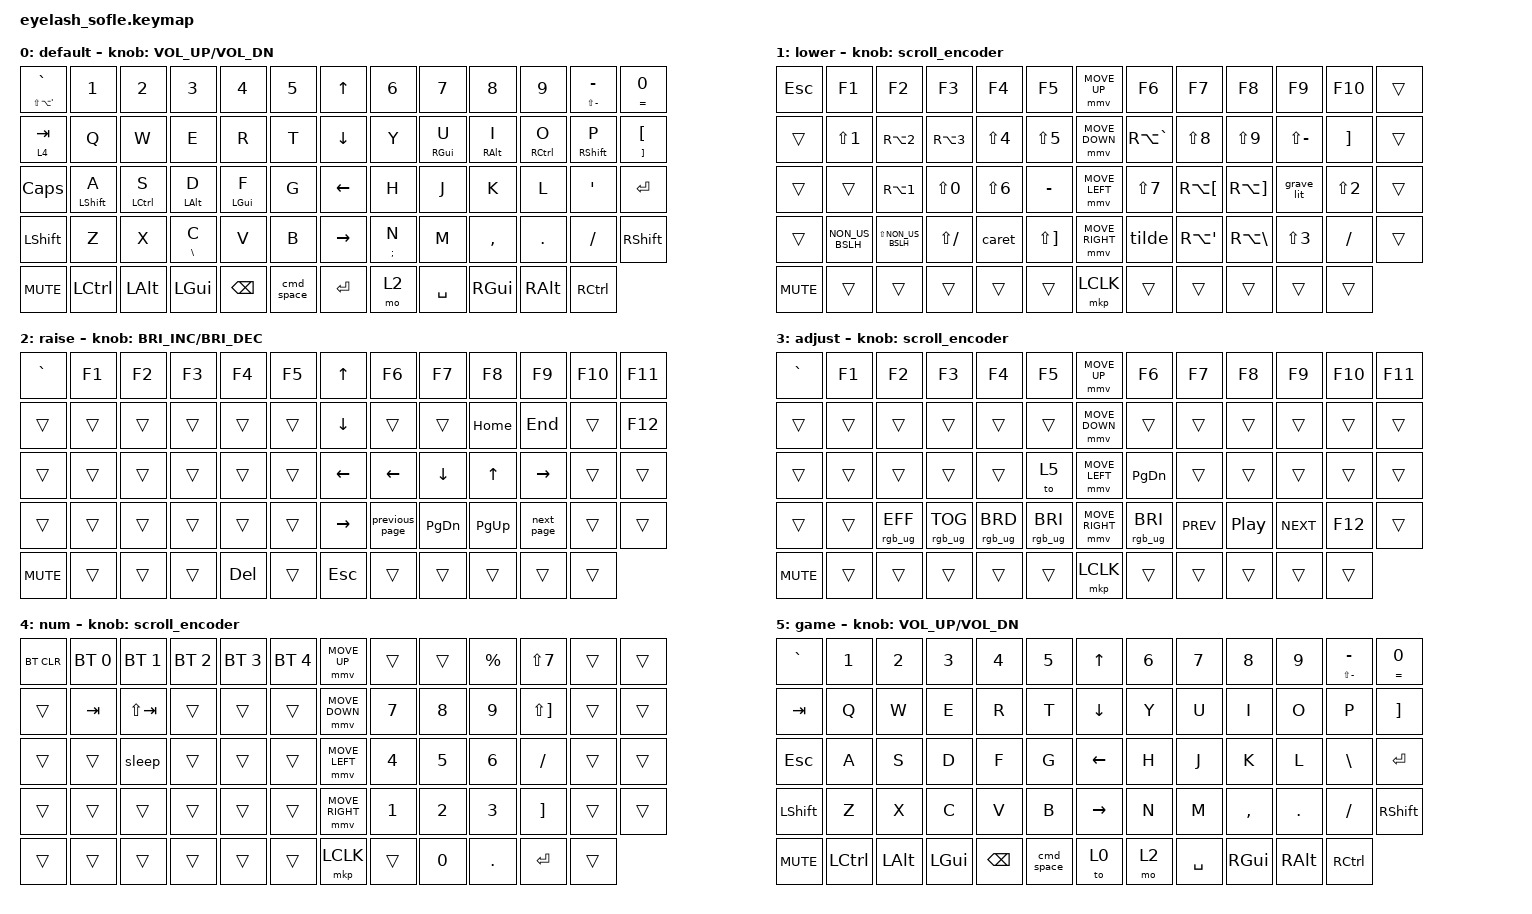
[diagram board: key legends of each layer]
#define ZMK_POINTING_DEFAULT_MOVE_VAL 1200  // 600
#define ZMK_POINTING_DEFAULT_SCRL_VAL 20    // 10

#include <input/processors.dtsi>
#include <zephyr/dt-bindings/input/input-event-codes.h>

#include <behaviors/mouse_keys.dtsi>
#include <behaviors.dtsi>
#include <dt-bindings/zmk/bt.h>
#include <dt-bindings/zmk/keys.h>
#include <dt-bindings/zmk/outputs.h>
#include <dt-bindings/zmk/pointing.h>
#include <dt-bindings/zmk/rgb.h>

&mmv_input_listener { input-processors = <&zip_xy_scaler 2 1>; };
&msc_input_listener { input-processors = <&zip_scroll_scaler 2 1>; };

&msc {
    acceleration-exponent = <1>;
    time-to-max-speed-ms = <400>;
    delay-ms = <0>;
};

&mmv {
    time-to-max-speed-ms = <900>;
    acceleration-exponent = <1>;
    trigger-period-ms = <16>;
};

&soft_off { hold-time-ms = <2000>; };

/ {
    scroll_encoder: scroll_encoder {
        compatible = "zmk,behavior-sensor-rotate";
        #sensor-binding-cells = <0>;
        bindings = <&msc SCRL_DOWN>, <&msc SCRL_UP>;

        tap-ms = <30>;
    };

    behaviors {
        num_tab: num_tab {
            compatible = "zmk,behavior-hold-tap";
            bindings = <&mo>, <&kp>;

            #binding-cells = <2>;
            tapping-term-ms = <200>;
            quick-tap-ms = <100>;
            require-prior-idle-ms = <100>;
        };

        service_mode: service_mode {
            compatible = "zmk,behavior-hold-tap";
            bindings = <&kp>, <&kp>;

            #binding-cells = <2>;
            tapping-term-ms = <150>;
            hold-trigger-key-positions = <0>;
        };

        c_trencada: c_trencada {
            compatible = "zmk,behavior-hold-tap";
            bindings = <&kp>, <&kp>;

            #binding-cells = <2>;
            tapping-term-ms = <200>;
            quick-tap-ms = <50>;
            flavor = "tap-preferred";
            hold-trigger-key-positions = <42>;
        };

        enya: enya {
            compatible = "zmk,behavior-hold-tap";
            bindings = <&kp>, <&kp>;

            #binding-cells = <2>;
            tapping-term-ms = <200>;
            quick-tap-ms = <50>;
            flavor = "tap-preferred";
            hold-trigger-key-positions = <46>;
        };

        generic_tap_hold: generic_tap_hold {
            compatible = "zmk,behavior-hold-tap";
            bindings = <&kp>, <&kp>;

            #binding-cells = <2>;
            tapping-term-ms = <150>;
            quick-tap-ms = <50>;
            require-prior-idle-ms = <125>;
            flavor = "tap-preferred";
            hold-trigger-key-positions = <12 11 37>;
        };

        cmd_space: cmd_space {
            compatible = "zmk,behavior-tap-dance";
            #binding-cells = <0>;
            bindings = <&mo 1>, <&kp LG(SPACE)>;

            tapping-term-ms = <200>;
        };

        lhmod: lhmod {
            compatible = "zmk,behavior-hold-tap";
            bindings = <&kp>, <&kp>;

            #binding-cells = <2>;
            tapping-term-ms = <200>;
            flavor = "tap-preferred";
            quick-tap-ms = <50>;
        };

        rhmod: rhmod {
            compatible = "zmk,behavior-hold-tap";
            bindings = <&kp>, <&kp>;

            #binding-cells = <2>;
            tapping-term-ms = <200>;
            flavor = "tap-preferred";
            quick-tap-ms = <50>;
        };
    };

    macros {
        sleep: sleep {
            compatible = "zmk,behavior-macro";
            #binding-cells = <0>;
            bindings = <&kp LA(LC(LG(EQUAL)))>;
        };

        next_page: next_page {
            compatible = "zmk,behavior-macro";
            #binding-cells = <0>;
            bindings = <&kp LG(SINGLE_QUOTE)>;
        };

        previous_page: previous_page {
            compatible = "zmk,behavior-macro";
            #binding-cells = <0>;
            bindings = <&kp LG(SEMICOLON)>;
        };

        // Literal ^ ~ ` for SYM: the dead key, then SPACE
        caret: caret {
            compatible = "zmk,behavior-macro";
            #binding-cells = <0>;
            bindings = <&kp LS(LBKT) &kp SPACE>;
        };

        tilde: tilde {
            compatible = "zmk,behavior-macro";
            #binding-cells = <0>;
            bindings = <&kp RA(SEMI) &kp SPACE>;
        };

        grave_lit: grave_lit {
            compatible = "zmk,behavior-macro";
            #binding-cells = <0>;
            bindings = <&kp LBKT &kp SPACE>;
        };
    };

    combos {
        compatible = "zmk,combos";

        softoff {
            bindings = <&soft_off>;
            key-positions = <14 28 40>;
            // ADJUST only (SYM + RAISE held): on base, the combo held back every S (a home-row mod) press
            layers = <3>;
        };
    };

    keymap {
        compatible = "zmk,keymap";

        default_layer {
            bindings = <
&service_mode LS(LA(APOSTROPHE)) GRAVE  &kp N1               &kp N2          &kp N3                   &kp N4             &kp N5                &kp UP_ARROW     &kp N6             &kp N7              &kp N8              &kp N9          &generic_tap_hold LS(MINUS) MINUS            &generic_tap_hold EQUAL N0
&num_tab 4 TAB                          &kp Q                &kp W           &kp E                    &kp R              &kp T                 &kp DOWN_ARROW   &kp Y              &rhmod RIGHT_GUI U  &rhmod RIGHT_ALT I  &rhmod RCTRL O  &rhmod RIGHT_SHIFT P                         &generic_tap_hold RBKT LBKT
&kp CAPS                                &lhmod LEFT_SHIFT A  &lhmod LCTRL S  &lhmod LEFT_ALT D        &lhmod LEFT_GUI F  &kp G                 &kp LEFT_ARROW   &kp H              &kp J               &kp K               &kp L           &kp SINGLE_QUOTE                             &kp ENTER
&kp LSHFT                               &kp Z                &kp X           &c_trencada BACKSLASH C  &kp V              &kp B                 &kp RIGHT_ARROW  &enya SEMICOLON N  &kp M               &kp COMMA           &kp DOT         &kp FSLH                                     &kp RSHFT
&kp C_MUTE                              &kp LCTRL            &kp LALT        &kp LEFT_GUI             &kp BSPC           &cmd_space            &kp ENTER        &mo 2              &kp SPACE           &kp RGUI            &kp RALT        &kp RCTRL
            >;

            sensor-bindings = <&inc_dec_kp C_VOLUME_UP C_VOL_DN>;
            display-name = "default";
        };

        lower_layer {
            bindings = <
&kp ESCAPE  &kp F1  &kp F2  &kp F3  &kp F4  &kp F5    &mmv MOVE_UP     &kp F6             &kp F7                &kp F8                 &kp F9                &kp F10              &trans
&trans      &kp LS(N1)           &kp RA(N2)           &kp RA(N3)           &kp LS(N4)           &kp LS(N5)           &mmv MOVE_DOWN   &kp RA(GRAVE)  &kp LS(N8)     &kp LS(N9)     &kp LS(MINUS)  &kp RBKT       &trans
&trans      &trans               &kp RA(N1)           &kp LS(N0)           &kp LS(N6)           &kp MINUS            &mmv MOVE_LEFT   &kp LS(N7)     &kp RA(LBKT)   &kp RA(RBKT)   &grave_lit     &kp LS(N2)     &trans
&trans      &kp NON_US_BSLH      &kp LS(NON_US_BSLH)  &kp LS(FSLH)         &caret               &kp LS(RBKT)         &mmv MOVE_RIGHT  &tilde         &kp RA(SQT)    &kp RA(BSLH)   &kp LS(N3)     &kp FSLH       &trans
&kp C_MUTE  &trans  &trans  &trans  &trans  &trans    &mkp LCLK        &trans             &trans                &trans                 &trans                &trans
            >;

            display-name = "lower";
            sensor-bindings = <&scroll_encoder>;
        };

        raise_layer {
            display-name = "raise";
            bindings = <
&kp GRAVE   &kp F1  &kp F2  &kp F3  &kp F4      &kp F5    &kp UP_ARROW  &kp F6          &kp F7          &kp F8        &kp F9      &kp F10  &kp F11
&trans      &trans  &trans  &trans  &trans      &trans    &kp DOWN_ARROW  &trans        &trans          &kp HOME      &kp END     &trans   &kp F12
&trans      &trans  &trans  &trans  &trans      &trans    &kp LEFT_ARROW  &kp LEFT_ARROW  &kp DOWN_ARROW  &kp UP_ARROW  &kp RIGHT_ARROW   &trans   &trans
&trans      &trans  &trans  &trans  &trans      &trans    &kp RIGHT_ARROW     &previous_page  &kp PG_DN   &kp PG_UP   &next_page  &trans   &trans
&kp C_MUTE  &trans  &trans  &trans  &kp DELETE  &trans    &kp ESC       &trans          &trans          &trans        &trans      &trans
            >;

            sensor-bindings = <&inc_dec_kp C_BRI_INC C_BRI_DEC>;
        };

        adjust_layer {
            display-name = "adjust";
            bindings = <
&kp GRAVE   &kp F1  &kp F2           &kp F3           &kp F4           &kp F5             &mmv MOVE_UP     &kp F6           &kp F7      &kp F8    &kp F9      &kp F10  &kp F11
&trans      &trans  &trans           &trans           &trans           &trans             &mmv MOVE_DOWN   &trans           &trans      &trans    &trans      &trans   &trans
&trans      &trans  &trans           &trans           &trans           &to 5              &mmv MOVE_LEFT   &kp PG_DN        &trans      &trans    &trans      &trans   &trans
&trans      &trans  &rgb_ug RGB_EFF  &rgb_ug RGB_TOG  &rgb_ug RGB_BRD  &rgb_ug RGB_BRI    &mmv MOVE_RIGHT  &rgb_ug RGB_BRI  &kp C_PREV  &kp C_PP  &kp C_NEXT  &kp F12  &trans
&kp C_MUTE  &trans  &trans           &trans           &trans           &trans             &mkp LCLK        &trans           &trans      &trans    &trans      &trans
            >;

            sensor-bindings = <&scroll_encoder>;
        };

        numeric_layer {
            display-name = "num";
            bindings = <
&bt BT_CLR  &bt BT_SEL 0  &bt BT_SEL 1  &bt BT_SEL 2  &bt BT_SEL 3  &bt BT_SEL 4    &mmv MOVE_UP     &trans  &trans  &kp PERCENT  &kp LS(N7)             &trans  &trans
&trans      &kp TAB       &kp LS(TAB)   &trans        &trans        &trans          &mmv MOVE_DOWN   &kp N7  &kp N8  &kp N9       &kp LS(RIGHT_BRACKET)  &trans  &trans
&trans      &trans        &sleep        &trans        &trans        &trans          &mmv MOVE_LEFT   &kp N4  &kp N5  &kp N6       &kp SLASH              &trans  &trans
&trans      &trans        &trans        &trans        &trans        &trans          &mmv MOVE_RIGHT  &kp N1  &kp N2  &kp N3       &kp RIGHT_BRACKET      &trans  &trans
&trans      &trans        &trans        &trans        &trans        &trans          &mkp LCLK        &trans  &kp N0  &kp DOT      &kp ENTER             &trans
            >;

            sensor-bindings = <&scroll_encoder>;
        };

        game_layer {
            display-name = "game";
            bindings = <
&kp GRAVE   &kp N1     &kp N2    &kp N3                   &kp N4    &kp N5        &kp UP_ARROW     &kp N6             &kp N7     &kp N8     &kp N9    &generic_tap_hold LS(MINUS) MINUS  &generic_tap_hold EQUAL N0
&kp TAB     &kp Q      &kp W     &kp E                    &kp R     &kp T         &kp DOWN_ARROW   &kp Y              &kp U      &kp I      &kp O     &kp P                              &kp RBKT
&kp ESCAPE  &kp A      &kp S     &kp D                    &kp F     &kp G         &kp LEFT_ARROW   &kp H              &kp J      &kp K      &kp L     &kp BACKSLASH                      &kp ENTER
&kp LSHFT   &kp Z      &kp X     &kp C                    &kp V     &kp B         &kp RIGHT_ARROW  &kp N              &kp M      &kp COMMA  &kp DOT   &kp FSLH                           &kp RSHFT
&kp C_MUTE  &kp LCTRL  &kp LALT  &kp LGUI                 &kp BSPC  &cmd_space    &to 0            &mo 2              &kp SPACE  &kp RGUI   &kp RALT  &kp RCTRL
            >;

            sensor-bindings = <&inc_dec_kp C_VOLUME_UP C_VOL_DN>;
        };
    };

    conditional_layers {
        compatible = "zmk,conditional-layers";

        adjust_layer {
            if-layers = <1 2>;
            then-layer = <3>;
        };
    };
};
